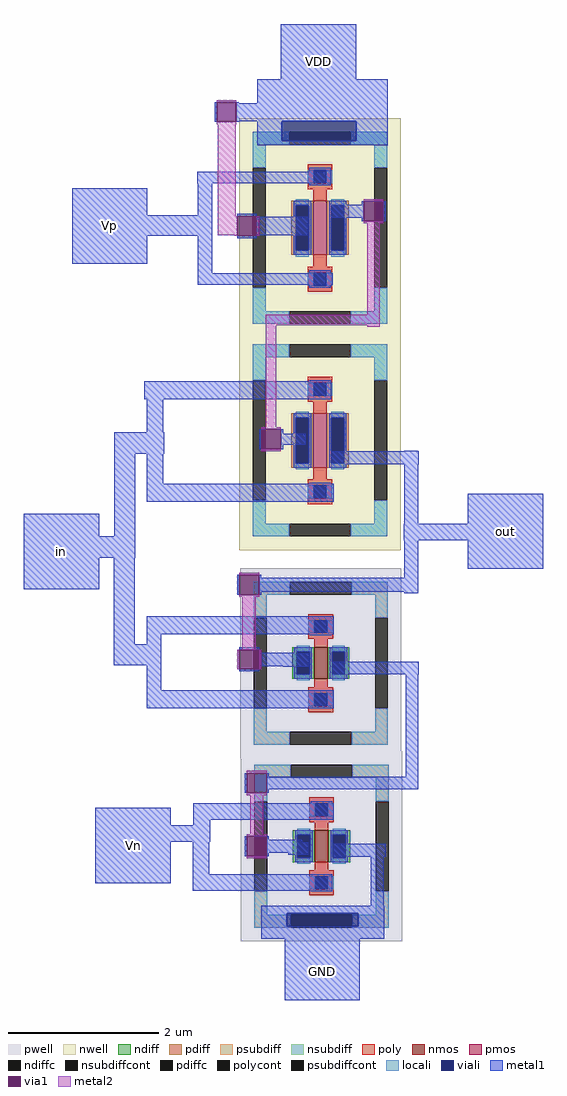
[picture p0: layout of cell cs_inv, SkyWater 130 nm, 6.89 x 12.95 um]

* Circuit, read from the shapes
.subckt cs_inv Vp out in Vn GND VDD
XM1 n1 in out VSUBS sky130_fd_pr__nfet_01v8 w=0.42 l=0.18
XM2 VSUBS Vn n1 VSUBS sky130_fd_pr__nfet_01v8 w=0.42 l=0.18
XM3 out in n2 VDD sky130_fd_pr__pfet_01v8 w=0.72 l=0.18
XM4 n2 Vp VDD VDD sky130_fd_pr__pfet_01v8 w=0.72 l=0.18
.ends

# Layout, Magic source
magic
tech sky130A
magscale 1 2
<< viali >>
rect 977 266 1175 318
rect 991 -1818 1181 -1784
<< metal1 >>
rect 975 430 1175 576
rect 799 316 805 368
rect 857 366 863 368
rect 913 366 1259 430
rect 857 318 1259 366
rect 857 316 863 318
rect 913 266 977 318
rect 1175 266 1259 318
rect 913 254 1259 266
rect 753 154 1105 184
rect 421 68 621 140
rect 755 68 793 154
rect 1189 96 1195 105
rect 421 14 793 68
rect 421 -60 621 14
rect 755 -86 793 14
rect 859 66 911 72
rect 911 16 1047 64
rect 1109 62 1195 96
rect 1189 53 1195 62
rect 1247 53 1253 105
rect 859 8 911 14
rect 755 -116 1113 -86
rect 613 -420 1109 -372
rect 619 -508 663 -420
rect 533 -564 665 -508
rect 917 -552 923 -500
rect 975 -512 981 -500
rect 975 -540 1041 -512
rect 975 -552 981 -540
rect 1303 -558 1339 -557
rect 293 -784 493 -724
rect 533 -784 589 -564
rect 619 -644 663 -564
rect 1107 -592 1341 -558
rect 619 -692 1115 -644
rect 1303 -750 1339 -592
rect 1471 -750 1671 -670
rect 293 -840 589 -784
rect 1301 -794 1671 -750
rect 293 -924 493 -840
rect 531 -1070 587 -840
rect 859 -938 865 -886
rect 917 -894 923 -886
rect 1303 -894 1339 -794
rect 1471 -870 1671 -794
rect 917 -930 1339 -894
rect 917 -938 923 -930
rect 1303 -934 1339 -930
rect 619 -1044 1115 -996
rect 619 -1070 657 -1044
rect 531 -1126 657 -1070
rect 619 -1192 657 -1126
rect 865 -1084 917 -1078
rect 917 -1094 1019 -1092
rect 917 -1128 1049 -1094
rect 981 -1130 1049 -1128
rect 865 -1142 917 -1136
rect 1111 -1150 1341 -1116
rect 619 -1240 1115 -1192
rect 879 -1464 885 -1412
rect 937 -1421 943 -1412
rect 1306 -1421 1340 -1150
rect 937 -1455 1340 -1421
rect 937 -1464 943 -1455
rect 483 -1550 683 -1504
rect 743 -1536 1115 -1492
rect 743 -1550 787 -1536
rect 483 -1594 787 -1550
rect 483 -1704 683 -1594
rect 741 -1680 785 -1594
rect 879 -1632 885 -1580
rect 937 -1589 943 -1580
rect 937 -1595 1032 -1589
rect 937 -1623 1048 -1595
rect 937 -1632 943 -1623
rect 995 -1629 1048 -1623
rect 1115 -1634 1253 -1600
rect 741 -1724 1111 -1680
rect 1214 -1764 1248 -1634
rect 923 -1784 1249 -1764
rect 923 -1818 991 -1784
rect 1181 -1818 1249 -1784
rect 923 -1852 1249 -1818
rect 985 -2014 1185 -1852
<< via1 >>
rect 805 316 857 368
rect 859 14 911 66
rect 1195 53 1247 105
rect 923 -552 975 -500
rect 865 -938 917 -886
rect 865 -1136 917 -1084
rect 885 -1464 937 -1412
rect 885 -1632 937 -1580
<< metal2 >>
rect 805 368 857 374
rect 805 310 857 316
rect 807 66 855 310
rect 1195 105 1247 111
rect 807 16 859 66
rect 853 14 859 16
rect 911 14 917 66
rect 1195 47 1247 53
rect 1204 -196 1238 47
rect 935 -224 1238 -196
rect 935 -494 963 -224
rect 1204 -227 1238 -224
rect 923 -500 975 -494
rect 923 -558 975 -552
rect 865 -886 917 -880
rect 865 -944 917 -938
rect 873 -1084 909 -944
rect 859 -1136 865 -1084
rect 917 -1136 923 -1084
rect 885 -1412 937 -1406
rect 885 -1470 937 -1464
rect 894 -1574 928 -1470
rect 885 -1580 937 -1574
rect 885 -1638 937 -1632
use sky130_fd_pr__nfet_01v8_4BNSKG  XM1
transform 1 0 1081 0 1 -1120
box -214 -252 214 252
use sky130_fd_pr__pfet_01v8_X4438S  XM2
transform 1 0 1079 0 1 35
box -214 -291 214 291
use sky130_fd_pr__pfet_01v8_X4438S  XM3
transform 1 0 1079 0 1 -529
box -214 -291 214 291
use sky130_fd_pr__nfet_01v8_4BNSKG  XM4
transform 1 0 1083 0 1 -1606
box -214 -252 214 252
<< labels >>
flabel metal1 421 -60 621 140 0 FreeSans 256 0 0 0 Vp
port 1 nsew
flabel metal1 483 -1704 683 -1504 0 FreeSans 256 0 0 0 Vn
port 4 nsew
flabel metal1 293 -924 493 -724 0 FreeSans 256 0 0 0 in
port 3 nsew
flabel metal1 1471 -870 1671 -670 0 FreeSans 256 0 0 0 out
port 2 nsew
flabel metal1 975 376 1175 576 0 FreeSans 256 0 0 0 VDD
port 5 nsew
flabel space 985 -2038 1185 -1838 0 FreeSans 256 0 0 0 GND
port 5 nsew
<< end >>

# cell sky130_fd_pr__nfet_01v8_4BNSKG: kit device sky130_fd_pr__nfet_01v8, w 0.42 l 0.18 m 1 nf 1 diffcov 100 polycov 100 guard 1 glc 1 grc 1 gtc 1 gbc 1 tbcov 100 rlcov 100 topc 1 botc 1 poverlap 0 doverlap 1 lmin 0.15 wmin 0.42 compatible {sky130_fd_pr__nfet_01v8 sky130_fd_pr__nfet_01v8_lvt sky130_fd_bs_flash__special_sonosfet_star sky130_fd_pr__nfet_g5v0d10v5 sky130_fd_pr__nfet_05v0_nvt sky130_fd_pr__nfet_03v3_nvt} full_metal 1 viasrc 100 viadrn 100 viagate 100 viagb 0 viagr 0 viagl 0 viagt 0

# cell sky130_fd_pr__pfet_01v8_X4438S: kit device sky130_fd_pr__pfet_01v8, w 0.72 l 0.18 m 1 nf 1 diffcov 100 polycov 100 guard 1 glc 1 grc 1 gtc 1 gbc 1 tbcov 100 rlcov 100 topc 1 botc 1 poverlap 0 doverlap 1 lmin 0.15 wmin 0.42 compatible {sky130_fd_pr__pfet_01v8 sky130_fd_pr__pfet_01v8_lvt sky130_fd_pr__pfet_01v8_hvt sky130_fd_pr__pfet_g5v0d10v5} full_metal 1 viasrc 100 viadrn 100 viagate 100 viagb 0 viagr 0 viagl 0 viagt 0
